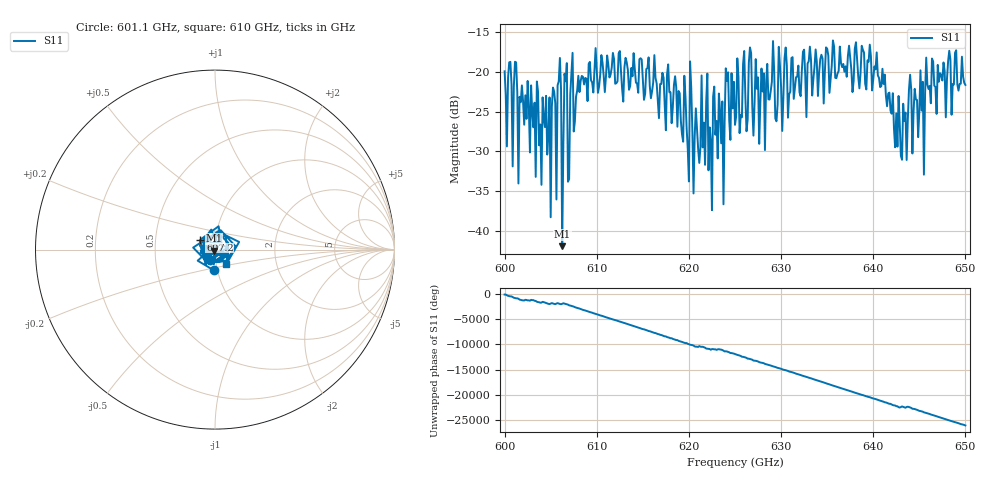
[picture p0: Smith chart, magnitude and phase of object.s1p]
!Created with skrf (http://scikit-rf.org).
# GHz S MA R 50.0
!freq magS11 angS11
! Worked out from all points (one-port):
!   401 points, 600 GHz to 650 GHz, reference 50 ohm
!   lowest |S11| = -41.9 dB at 606.2 GHz (marker M1), VSWR 1.02, Z = 49.4 - j0.504 ohm
!   |S11| at or under -10 dB: start of sweep to end of sweep
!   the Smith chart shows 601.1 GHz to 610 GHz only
!   S11 on the Smith chart (normalised r, x): 601.1 GHz: 0.96, -0.23; 607.2 GHz: 0.85, +0.10; 610 GHz: 1.12, -0.18
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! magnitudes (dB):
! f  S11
! 600 GHz  -19.9
! 601.1 GHz  -18.7
! 604 GHz  -34.2
! 604.6 GHz  -30.4
! 604.9 GHz  -23.2
! 605.9 GHz  -21.2
! 606.2 GHz  -41.9
! 607.2 GHz  -20.1
! 610 GHz  -19.8
! 612.5 GHz  -17.4
! 618.8 GHz  -26.9
! 620.8 GHz  -24.6
! 622.1 GHz  -32.4
! 622.4 GHz  -28.6
! 622.9 GHz  -27.9
! 623.6 GHz  -23.7
! 624.1 GHz  -21.1
! 625 GHz  -26.7
! 626.6 GHz  -16.9
! 628.5 GHz  -19.0
! 629 GHz  -21.2
! 631.2 GHz  -18.2
! 637.5 GHz  -18.3
! 640.4 GHz  -17.6
! 642.9 GHz  -26.5
! 643.8 GHz  -26.1
! 647.5 GHz  -21.1
! 650 GHz  -21.6
